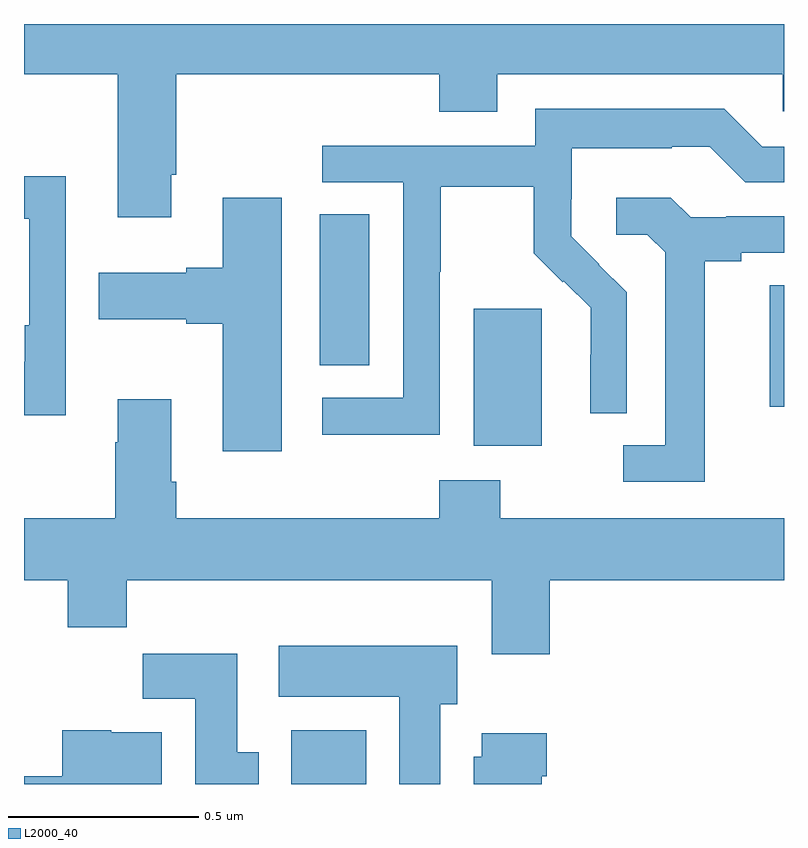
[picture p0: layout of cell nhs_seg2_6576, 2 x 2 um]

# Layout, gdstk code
import gdstk
lib = gdstk.Library(unit=1e-6, precision=1e-09)
def R(c, l, rs):  # rectangles x0, y0, x1, y1
    for r in rs: c.add(gdstk.rectangle(r[:2], r[2:], *l))
def P(c, l, *ps):  # polygons
    for p in ps: c.add(gdstk.Polygon(p, *l))
L2000_40 = (2000, 40)

nhs_seg2_6576 = lib.new_cell('nhs_seg2_6576')
R(nhs_seg2_6576, L2000_40, [(193.703,613.8,193.9,613.942), (194.183,614.69,194.362,615.051), (194.963,614.793,195,615.113), (193.778,614.902,193.909,615.299)])
P(nhs_seg2_6576, L2000_40, [(193.387,615.403),(193.4,615.403),(193.4,615.668),(194.093,615.668),(194.093,615.569),(194.245,615.569),(194.245,615.668),(194.997,615.668),(194.997,615.57),(195,615.57),(195,615.8),(193,615.8),(193,615.668),(193.247,615.668),(193.247,615.291),(193.387,615.291)],
  [(194.094,615.148),(194.097,615.148),(194.097,615.372),(194.341,615.372),(194.341,615.197),(194.418,615.12),(194.421,615.123),(194.492,615.053),(194.492,614.93),(194.49,614.93),(194.49,614.776),(194.586,614.776),(194.586,615.094),(194.513,615.167),(194.514,615.168),(194.44,615.242),(194.44,615.339),(194.442,615.339),(194.442,615.473),(194.705,615.473),(194.705,615.477),(194.805,615.477),(194.898,615.384),(195,615.384),(195,615.477),(194.943,615.477),(194.843,615.577),(194.346,615.577),(194.346,615.48),(193.785,615.48),(193.785,615.384),(193.998,615.384),(193.998,614.817),(193.785,614.817),(193.785,614.719),(194.094,614.719)],
  [(193.11,615.4),(193,615.4),(193,615.287),(193.014,615.287),(193.014,615.007),(193.002,615.007),(193.002,614.911),(193,614.911),(193,614.771),(193.11,614.771)],
  [(193.678,615.343),(193.523,615.343),(193.523,615.158),(193.427,615.158),(193.427,615.145),(193.197,615.145),(193.197,615.023),(193.427,615.023),(193.427,615.011),(193.523,615.011),(193.523,614.676),(193.678,614.676)],
  [(194.791,615.176),(194.887,615.176),(194.887,615.198),(195,615.198),(195,615.294),(194.848,615.294),(194.848,615.291),(194.754,615.291),(194.702,615.343),(194.559,615.343),(194.559,615.246),(194.64,615.246),(194.687,615.199),(194.687,614.691),(194.577,614.691),(194.577,614.595),(194.791,614.595)],
  [(194.384,614.336),(195,614.336),(195,614.5),(194.253,614.5),(194.253,614.599),(194.093,614.599),(194.093,614.5),(193.4,614.5),(193.4,614.596),(193.387,614.596),(193.387,614.812),(193.247,614.812),(193.247,614.699),(193.24,614.699),(193.24,614.5),(193,614.5),(193,614.336),(193.115,614.336),(193.115,614.212),(193.271,614.212),(193.271,614.336),(194.231,614.336),(194.231,614.142),(194.384,614.142)],
  [(194.095,614.01),(194.14,614.01),(194.14,614.164),(193.671,614.164),(193.671,614.03),(193.988,614.03),(193.988,613.8),(194.095,613.8)],
  [(193.618,613.884),(193.561,613.884),(193.561,614.143),(193.312,614.143),(193.312,614.024),(193.451,614.024),(193.451,613.8),(193.618,613.8)],
  [(193.363,613.936),(193.23,613.936),(193.23,613.942),(193.1,613.942),(193.1,613.82),(193,613.82),(193,613.8),(193.363,613.8)],
  [(194.362,613.82),(194.375,613.82),(194.375,613.933),(194.204,613.933),(194.204,613.872),(194.183,613.872),(194.183,613.8),(194.362,613.8)])

lib.write_gds('nhs_seg2_6576.gds')
